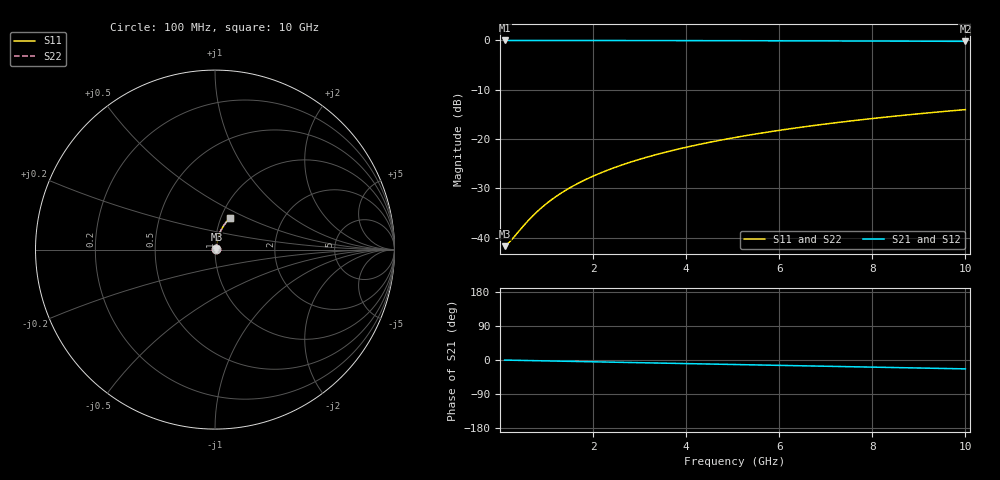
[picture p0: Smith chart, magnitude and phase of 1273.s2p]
# Hz S RI R 50.00
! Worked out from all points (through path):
!   100 points, 100 MHz to 10 GHz, reference 50 ohm
!   highest |S21| = -0.07 dB at 100 MHz (marker M1); lowest = -0.3 dB at 10 GHz (marker M2)
!   group delay of S21, straight-line fit = 6.51 ps
!   lowest |S11| = -41.7 dB at 100 MHz (marker M3), VSWR 1.02, Z = 50.8 + j0.206 ohm
!   |S11| at or under -10 dB: start of sweep to end of sweep
!   |S22| runs from -41.7 to -14.1 dB; largest |S21 - S12| = 0
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1e8  0.00797 0.00203  0.992 -0.0041  0.992 -0.0041  0.00797 0.00203
2e8  0.00805 0.00406  0.9919 -0.00821  0.9919 -0.00821  0.00805 0.00406
3e8  0.00813 0.00609  0.9918 -0.0123  0.9918 -0.0123  0.00813 0.00609
5e8  0.00832 0.0101  0.9916 -0.0205  0.9916 -0.0205  0.00832 0.0101
7e8  0.00856 0.0142  0.9913 -0.0287  0.9913 -0.0287  0.00856 0.0142
9e8  0.00887 0.0182  0.9909 -0.0369  0.9909 -0.0369  0.00887 0.0182
1.1e9  0.00924 0.0223  0.9905 -0.0451  0.9905 -0.0451  0.00924 0.0223
1.3e9  0.00967 0.0263  0.9899 -0.0533  0.9899 -0.0533  0.00967 0.0263
1.5e9  0.0102 0.0303  0.9893 -0.0614  0.9893 -0.0614  0.0102 0.0303
1.8e9  0.011 0.0364  0.9882 -0.0737  0.9882 -0.0737  0.011 0.0364
2.1e9  0.012 0.0424  0.987 -0.0859  0.987 -0.0859  0.012 0.0424
2.5e9  0.0136 0.0503  0.985 -0.1021  0.985 -0.1021  0.0136 0.0503
2.9e9  0.0154 0.0582  0.9827 -0.1183  0.9827 -0.1183  0.0154 0.0582
3.4e9  0.0181 0.0679  0.9794 -0.1384  0.9794 -0.1384  0.0181 0.0679
3.8e9  0.0205 0.0756  0.9763 -0.1544  0.9763 -0.1544  0.0205 0.0756
4.2e9  0.0231 0.0832  0.973 -0.1703  0.973 -0.1703  0.0231 0.0832
5.1e9  0.03 0.1  0.9643 -0.2058  0.9643 -0.2058  0.03 0.1
5.9e9  0.0371 0.1144  0.9553 -0.2368  0.9553 -0.2368  0.0371 0.1144
6.7e9  0.045 0.1282  0.9451 -0.2672  0.9451 -0.2672  0.045 0.1282
7.5e9  0.0539 0.1414  0.9338 -0.2971  0.9338 -0.2971  0.0539 0.1414
8.4e9  0.0647 0.1555  0.9197 -0.3299  0.9197 -0.3299  0.0647 0.1555
1e10  0.0864 0.1783  0.8916 -0.386  0.8916 -0.386  0.0864 0.1783
